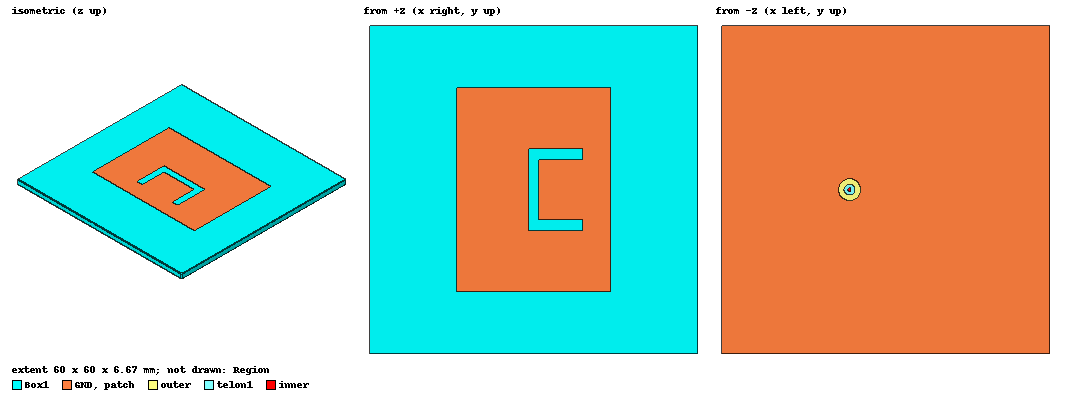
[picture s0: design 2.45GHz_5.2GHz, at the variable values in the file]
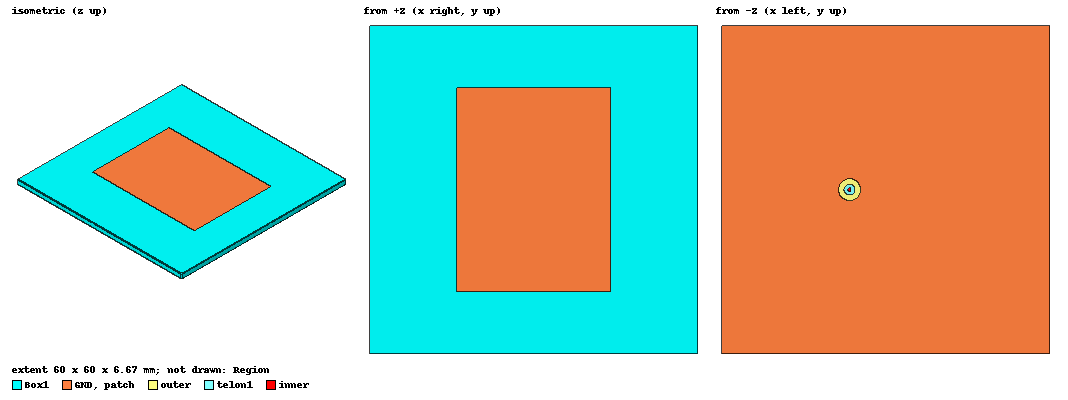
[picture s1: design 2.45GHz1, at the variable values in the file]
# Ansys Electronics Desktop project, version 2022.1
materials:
  vacuum: permittivity=1
  FR4_epoxy: permittivity=4.4 dielectric_loss_tangent=0.02
  copper: permeability=0.999991 conductivity=58000000
  Teflon (tm): permittivity=2.1 dielectric_loss_tangent=0.001

design 2.45GHz_5.2GHz (HFSS, DrivenModal, model units mm)
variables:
  subx = 60mm
  suby = 60mm
  H = 1.6mm
  t = 0.035mm
  patchx = 28mm  # optimise 20mm..40mm
  patchy = 37.26mm  # optimise 30mm..50mm
  l0 = 5mm  # l_sma
  r01 = 1mm  # r_telon
  h1 = 1.524mm
  r00 = 0.3mm  # r_inner
  feed_dx = 6.6mm  # optimise 4mm..9.9mm
  slot_w = 2mm  # optimise 1mm..3mm
  slot_y = 15mm  # optimise 7.5mm..25mm
  slot_dx = 0mm  # optimise -5mm..3mm
  slot_x = 10mm  # optimise 5mm..15mm
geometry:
  Box1 [FR4_epoxy] = box(corner=(-subx/2, -suby/2, 0mm), size=(subx, suby, H))
  patch [copper] = box(corner=(-patchx/2, -patchy/2, H), size=(patchx, patchy, t))
  GND [copper] = box(corner=(-subx/2, -suby/2, 0mm), size=(subx, suby, -t))
  outer [copper] = cylinder(axis=Z, base_centre=(feed_dx, 0mm, -t), radius=r01+1mm, height=-l0)
  inner [copper] = cylinder(axis=Z, base_centre=(feed_dx, 0mm, -t-l0), radius=r00, height=l0+t+H)
  telon1 [Teflon (tm)] = cylinder(axis=Z, base_centre=(feed_dx, 0mm, -t), radius=r01, height=-l0)
  Cylinder1 = cylinder(axis=Z, base_centre=(feed_dx, 0mm, 0mm), radius=r01, height=-t)
  Region [vacuum] = region(absolute_offset=70mm on all sides)
  GND.subtract(Cylinder1)
  inner_1 = inner.copy()
  telon1.subtract(inner_1)
  telon1_1 = telon1.copy()
  outer.subtract(telon1_1)
  inner_2 = inner.copy()
  Box1.subtract(inner_2)
  inner_3 = inner.copy()
  outer.subtract(inner_3)
  patch1 = box(corner=(-slot_w/2+slot_dx, -slot_y/2, H), size=(slot_w, slot_y, t))
  patch2 = box(corner=(-slot_w/2+slot_dx, -slot_y/2, H), size=(slot_x, slot_w, t))
  patch2_1 = patch2.duplicate_mirror(point=(0mm, 0mm, 0mm), normal=(0mm, 1mm, 0mm))
  patch.subtract(patch1, patch2, patch2_1)
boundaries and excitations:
  Rad1: Radiation Objects=Region
  1: Lumped Port Faces=telon1.face(2 of 3) Modes{Mode1{IntLine{(6.9, 0, -5.035) -> (7.6, 0, -5.035)} CharImp=Zpi RenormImp=50ohm}} Impedance=50ohm
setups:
  Setup1: HfssDriven MultipleAdaptiveFreqsSetup{AdaptAt{Frequency=2.45GHz Delta=0.02} AdaptAt{Frequency=5.25GHz Delta=0.02}} MaximumPasses=20 MinimumPasses=1 MinimumConvergedPasses=1 PercentRefinement=30 BasisOrder=1 PortAccuracy=2 DrivenSolverType="Direct Solver"
    sweep Sweep: 1.5GHz to 6.25GHz, 200 points; Type=Fast SaveFields
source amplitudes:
  1:1: 1W 0deg
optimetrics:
  OptimizationSetup1: Optimization Optimizer="DX MOGA" AnalysisStopOptions{StopForNumIteration MaxNumIteration=1100 MinNumIteration=10} CostFuncNormType=L2 Acceptable_Cost=0 Noise=0.0001 UpdateDesignWhenDone
    goal dB(S(1,1)) <= -10 weight 1 on Setup1 : Sweep at Freq 2.4GHz to 2.48GHz
    goal dB(S(1,1)) <= -10 weight 1 on Setup1 : Sweep at Freq 5.15GHz to 5.35GHz
    goal dB(S(1,1)) <= -15 weight 1 on Setup1 : LastAdaptive at Freq 2.45GHz
    goal dB(S(1,1)) <= -15 weight 1 on Setup1 : LastAdaptive at Freq 5.25GHz
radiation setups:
  Infinite Sphere1: Infinite Sphere Theta=-90deg..90deg step 2deg Phi=0deg..360deg step 2deg
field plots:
  Mag_E1: E Field in Box1 on Setup1 : LastAdaptive at Freq=2.45GHz Phase=0deg
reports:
  S Parameter Plot 1: dB(S(1,1)) vs Freq on Setup1 : Sweep; markers MX1 at x=2.1723626e+09, MY1 at y=-10
  Realized Gain Plot 1: dB(RealizedGainTotal) vs Phi, Theta on Setup1 : LastAdaptive, Infinite Sphere1 [Freq=2.45GHz]

design 2.45GHz1 (HFSS, DrivenModal, model units mm)
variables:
  subx = 60mm
  suby = 60mm
  H = 1.6mm
  t = 0.035mm
  patchx = 28mm
  patchy = 37.26mm
  l0 = 5mm  # l_sma
  r01 = 1mm  # r_telon
  h1 = 1.524mm
  r00 = 0.3mm  # r_inner
  feed_dx = 6.6mm
  r02 = 0.4mm
  r03 = 1.5mm
  gap = 0.2mm
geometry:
  Box1 [FR4_epoxy] = box(corner=(-subx/2, -suby/2, 0mm), size=(subx, suby, H))
  patch [copper] = box(corner=(-patchx/2, -patchy/2, H), size=(patchx, patchy, t))
  GND [copper] = box(corner=(-subx/2, -suby/2, 0mm), size=(subx, suby, -t))
  outer [copper] = cylinder(axis=Z, base_centre=(feed_dx, 0mm, -t), radius=r01+1mm, height=-l0)
  inner [copper] = cylinder(axis=Z, base_centre=(feed_dx, 0mm, -t-l0), radius=r00, height=l0+t+H)
  telon1 [Teflon (tm)] = cylinder(axis=Z, base_centre=(feed_dx, 0mm, -t), radius=r01, height=-l0)
  Cylinder1 = cylinder(axis=Z, base_centre=(feed_dx, 0mm, 0mm), radius=r01, height=-t)
  Region [vacuum] = region(absolute_offset=70mm on all sides)
  GND.subtract(Cylinder1)
  inner_1 = inner.copy()
  telon1.subtract(inner_1)
  telon1_1 = telon1.copy()
  outer.subtract(telon1_1)
  inner_3 = inner.copy()
  outer.subtract(inner_3)
  Cylinder2 = cylinder(axis=Z, base_centre=(feed_dx, 0mm, 0mm), radius=r02, height=H)
  Box1.subtract(Cylinder2)
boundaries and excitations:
  Rad1: Radiation Objects=Region
  1: Lumped Port Faces=telon1.face(2 of 3) Modes{Mode1{IntLine{(6.9, 0, -5.035) -> (7.6, 0, -5.035)} CharImp=Zpi RenormImp=50ohm}} Impedance=50ohm
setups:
  Setup1: HfssDriven MultipleAdaptiveFreqsSetup{AdaptAt{Frequency=2.45GHz Delta=0.02} AdaptAt{Frequency=5.25GHz Delta=0.02}} MaximumPasses=6 MinimumPasses=1 MinimumConvergedPasses=1 PercentRefinement=30 BasisOrder=1 PortAccuracy=2 DrivenSolverType="Direct Solver"
    sweep Sweep: 2GHz to 3GHz, 200 points; Type=Fast SaveFields
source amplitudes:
  1:1: 1W 0deg
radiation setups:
  Infinite Sphere1: Infinite Sphere Theta=-180deg..180deg step 2deg Phi=0deg..360deg step 2deg
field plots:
  Mag_E1: E Field in Box1 on Setup1 : LastAdaptive at Freq=2.45GHz Phase=0deg
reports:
  S Parameter Plot 1: dB(S(1,1)) vs Freq on Setup1 : Sweep; markers MX1 at x=2.4451952e+09, MY1 at y=-10
  Realized Gain Plot 1: dB(RealizedGainTotal) vs Phi, Theta on Setup1 : LastAdaptive, Infinite Sphere1 [Freq=2.45GHz]
  Polarization Ratio Plot 1: RealizedGainY vs Theta on Setup1 : LastAdaptive, Infinite Sphere1 [Phi=0deg,90deg Freq=2.45GHz]; markers MX1 at x=0, MY1 at y=0.79
  Realized Gain Plot 2: dB10normalize(RealizedGainL3X), dB(RealizedGainL3Y) vs Theta on Setup1 : LastAdaptive, Infinite Sphere1 [Phi=0deg Freq=2.45GHz]
  Realized Gain Plot 2_1: dB10normalize(RealizedGainL3X), dB(RealizedGainL3Y) vs Theta on Setup1 : LastAdaptive, Infinite Sphere1 [Phi=90deg Freq=2.45GHz]
